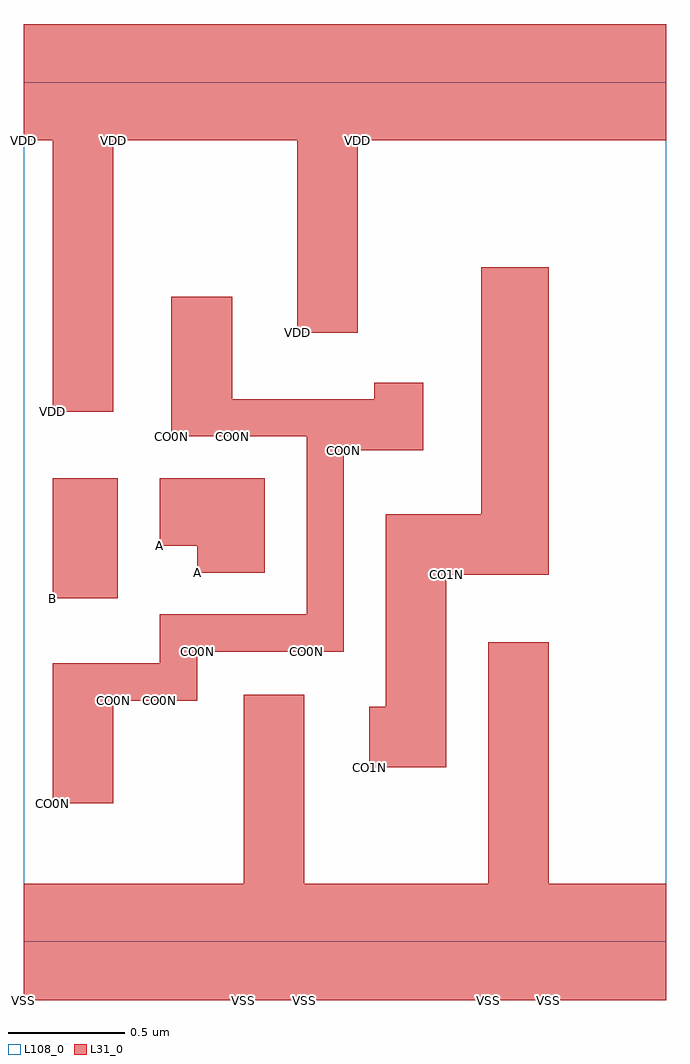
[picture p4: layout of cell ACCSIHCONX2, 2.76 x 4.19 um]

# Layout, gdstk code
import gdstk
lib = gdstk.Library(unit=1e-6, precision=1e-09)
def R(c, l, rs):  # rectangles x0, y0, x1, y1
    for r in rs: c.add(gdstk.rectangle(r[:2], r[2:], *l))
L31_0 = (31, 0)
L108_0 = (108, 0)

accsihconx2 = lib.new_cell('ACCSIHCONX2')
R(accsihconx2, L31_0, [(0,-0.25,0.945,0.25), (0.945,-0.25,1.205,1.06), (1.205,-0.25,1.995,0.25), (1.995,-0.25,2.255,1.285), (2.255,-0.25,2.76,0.25), (0.125,0.595,0.385,1.195), (1.485,0.75,1.555,1.01), (1.555,0.75,1.815,1.835), (0.385,1.035,0.585,1.195), (0.585,1.035,0.745,1.405), (0.745,1.245,1.215,1.405), (1.215,1.245,1.375,2.33), (0.125,1.475,0.405,1.99), (1.815,1.575,1.965,1.835), (1.965,1.575,2.255,2.895), (0.745,1.585,1.035,1.99), (0.585,1.7,0.745,1.99), (1.375,2.11,1.505,2.33), (1.505,2.11,1.715,2.4), (0.635,2.17,0.895,2.77), (0.895,2.17,1.215,2.33), (0.125,2.275,0.385,3.94), (1.175,2.615,1.435,3.94), (0,3.44,0.125,3.94), (0.385,3.44,1.175,3.94), (1.435,3.44,2.76,3.94)])
R(accsihconx2, L108_0, [(0,0,2.76,3.69)])
accsihconx2.add(gdstk.Label('CO1N', (1.485,0.75), layer=131, texttype=0))
accsihconx2.add(gdstk.Label('CO1N', (1.555,0.75), layer=131, texttype=0))
accsihconx2.add(gdstk.Label('CO1N', (1.815,1.575), layer=131, texttype=0))
accsihconx2.add(gdstk.Label('CO1N', (1.965,1.575), layer=131, texttype=0))
accsihconx2.add(gdstk.Label('CO0N', (0.125,0.595), layer=131, texttype=0))
accsihconx2.add(gdstk.Label('CO0N', (0.385,1.035), layer=131, texttype=0))
accsihconx2.add(gdstk.Label('CO0N', (0.585,1.035), layer=131, texttype=0))
accsihconx2.add(gdstk.Label('CO0N', (0.635,2.17), layer=131, texttype=0))
accsihconx2.add(gdstk.Label('CO0N', (0.895,2.17), layer=131, texttype=0))
accsihconx2.add(gdstk.Label('CO0N', (0.745,1.245), layer=131, texttype=0))
accsihconx2.add(gdstk.Label('CO0N', (1.215,1.245), layer=131, texttype=0))
accsihconx2.add(gdstk.Label('CO0N', (1.375,2.11), layer=131, texttype=0))
accsihconx2.add(gdstk.Label('CO0N', (1.505,2.11), layer=131, texttype=0))
accsihconx2.add(gdstk.Label('B', (0.125,1.475), layer=131, texttype=0))
accsihconx2.add(gdstk.Label('A', (0.585,1.7), layer=131, texttype=0))
accsihconx2.add(gdstk.Label('A', (0.745,1.585), layer=131, texttype=0))
accsihconx2.add(gdstk.Label('VSS', (0,-0.25), layer=131, texttype=0))
accsihconx2.add(gdstk.Label('VSS', (0.945,-0.25), layer=131, texttype=0))
accsihconx2.add(gdstk.Label('VSS', (1.205,-0.25), layer=131, texttype=0))
accsihconx2.add(gdstk.Label('VSS', (1.995,-0.25), layer=131, texttype=0))
accsihconx2.add(gdstk.Label('VSS', (2.255,-0.25), layer=131, texttype=0))
accsihconx2.add(gdstk.Label('VDD', (0,3.44), layer=131, texttype=0))
accsihconx2.add(gdstk.Label('VDD', (0.125,2.275), layer=131, texttype=0))
accsihconx2.add(gdstk.Label('VDD', (0.385,3.44), layer=131, texttype=0))
accsihconx2.add(gdstk.Label('VDD', (1.175,2.615), layer=131, texttype=0))
accsihconx2.add(gdstk.Label('VDD', (1.435,3.44), layer=131, texttype=0))

lib.write_gds('ACCSIHCONX2.gds')
